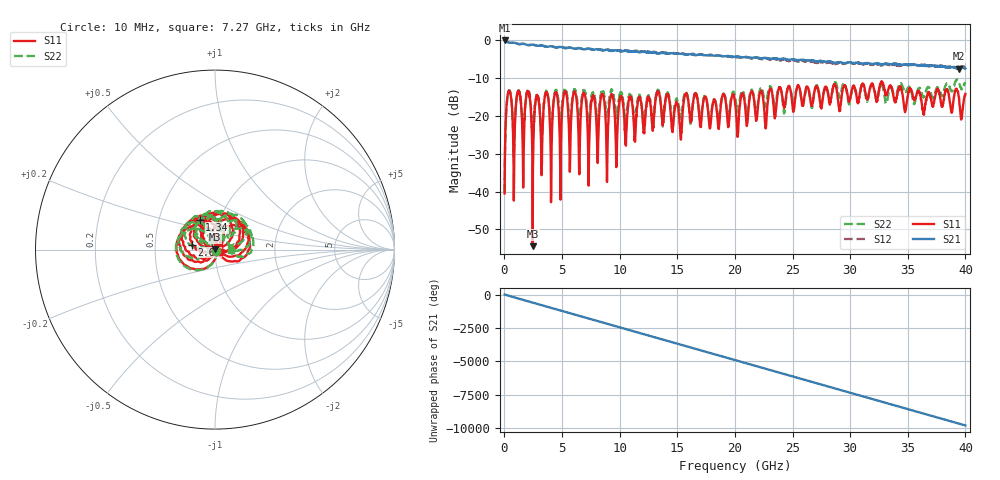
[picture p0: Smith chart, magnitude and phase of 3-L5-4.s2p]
! 2/21/2025 7:26:36 AM
! Z:\OQC\AD5\613\LOT-141-0825\SINGLE\3-L5-4.S2P
! CHANNEL.1
! TR.MEASUREMENT
! CORRECTED.DATA
! RF.CORRECTION: FULL.FOUR.PORT.CAL.PORT.1.2.3.4
! AVERAGING.OFF
! IF.BANDWIDTH: 1KHZ
! SWEEPTYPE:  FREQ.SWEEP(Linear)
! Reference Plane Port Info
! PORT:  PORT1  PORT2
! DISTANCE:  0  m  0  m
! TIME:  0  s  0  s
! PHASE.OFFSET:  0 °  0 °
! LOSS:  0  dB  0  dB
! REF.LOSS:  0  dB  0  dB
! REF.FREQ:  0  Hz  0  Hz
! Power Info
! POWER:  -10  dBm  -10  dBm
! EFF.POWER:  -10  dBm  -10  dBm
! SOURCE.ATTEN:  0  dB  0  dB
! TEST.ATTEN:  0  dB  0  dB
# GHZ S RI R 50.0
! FREQ.GHZ  S11RE  S11IM  S21RE  S21IM  S12RE  S12IM  S22RE  S22IM
!; PortSelection: Port_12
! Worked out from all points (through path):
!   4000 points, 10 MHz to 40 GHz, reference 50 ohm
!   highest |S21| = -0.07 dB at 10 MHz (marker M1); lowest = -7.5 dB at 39.41 GHz (marker M2)
!   group delay of S21, straight-line fit = 678 ps
!   lowest |S11| = -54.4 dB at 2.45 GHz (marker M3), VSWR 1.00, Z = 50.2 + j0.0593 ohm
!   |S11| at or under -10 dB: start of sweep to end of sweep
!   |S22| runs from -40.3 to -10.4 dB; largest |S21 - S12| = 0.038
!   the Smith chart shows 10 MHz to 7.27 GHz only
!   S11 on the Smith chart (normalised r, x): 10 MHz: 1.02, -0.01; 1.34 GHz: 0.80, +0.27; 2.63 GHz: 0.77, +0.04; 7.27 GHz: 1.05, -0.03
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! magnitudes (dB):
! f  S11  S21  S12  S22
! 10 MHz  -40.5  -0.1  -0.1  -40.3
! 340 MHz  -13.6  -0.6  -0.6  -13.5
! 810 MHz  -42.4  -0.7  -0.7  -30.9
! 1.34 GHz  -14.6  -1.1  -1.0  -14.2
! 1.63 GHz  -37.9  -1.0  -1.0  -26.1
! 2.08 GHz  -13.7  -1.3  -1.3  -13.6
! 2.45 GHz  -54.4  -1.2  -1.2  -27.4
! 2.63 GHz  -17.6  -1.3  -1.3  -17.4
! 6.68 GHz  -17.1  -2.2  -2.2  -15.8
! 7.27 GHz  -31.2  -2.3  -2.2  -20.9
! 7.68 GHz  -14.5  -2.5  -2.4  -13.8
! 8.9 GHz  -37.5  -2.5  -2.6  -20.5
! 9.29 GHz  -14.5  -2.9  -2.6  -13.4
! 9.72 GHz  -32.4  -2.7  -2.6  -19.8
! 10.1 GHz  -14.8  -2.9  -2.9  -14.0
! 13.34 GHz  -13.5  -3.5  -3.4  -13.4
! 15.29 GHz  -25.7  -3.6  -3.5  -20.6
! 20.01 GHz  -16.7  -4.4  -4.5  -15.0
! 26.67 GHz  -17.1  -5.2  -5.6  -17.8
! 33.34 GHz  -12.7  -6.3  -6.5  -13.8
! 39.41 GHz  -14.8  -7.5  -7.0  -11.0
! 40 GHz  -14.2  -7.5  -7.1  -11.1
